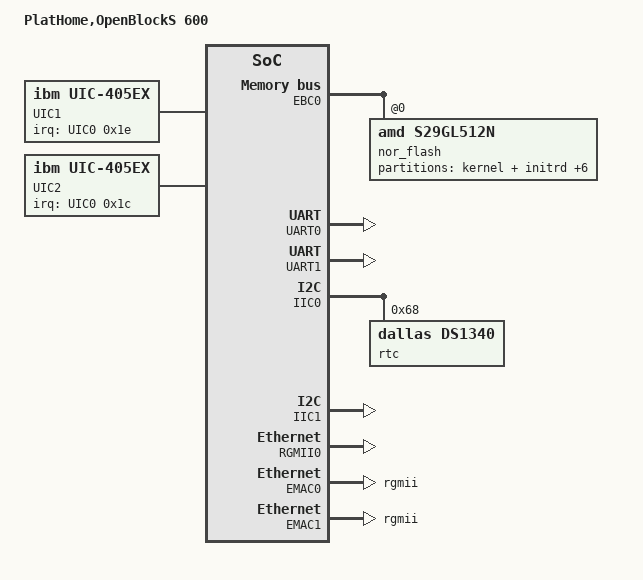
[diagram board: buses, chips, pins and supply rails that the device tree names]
/*
 * Device Tree Source for PlatHome OpenBlockS 600 (405EX)
 *
 * Copyright 2011 Ben Herrenschmidt, IBM Corp.
 *
 * Based on Kilauea by:
 *
 * Copyright 2007-2009 DENX Software Engineering, Stefan Roese <sr@denx.de>
 *
 * This file is licensed under the terms of the GNU General Public
 * License version 2.  This program is licensed "as is" without
 * any warranty of any kind, whether express or implied.
 */

/dts-v1/;

/ {
	#address-cells = <1>;
	#size-cells = <1>;
	model = "PlatHome,OpenBlockS 600";
	compatible = "plathome,obs600";
	dcr-parent = <&{/cpus/cpu@0}>;

	aliases {
		ethernet0 = &EMAC0;
		ethernet1 = &EMAC1;
		serial0 = &UART0;
		serial1 = &UART1;
	};

	cpus {
		#address-cells = <1>;
		#size-cells = <0>;

		cpu@0 {
			device_type = "cpu";
			model = "PowerPC,405EX";
			reg = <0x00000000>;
			clock-frequency = <0>; /* Filled in by U-Boot */
			timebase-frequency = <0>; /* Filled in by U-Boot */
			i-cache-line-size = <32>;
			d-cache-line-size = <32>;
			i-cache-size = <16384>; /* 16 kB */
			d-cache-size = <16384>; /* 16 kB */
			dcr-controller;
			dcr-access-method = "native";
		};
	};

	memory {
		device_type = "memory";
		reg = <0x00000000 0x00000000>; /* Filled in by U-Boot */
	};

	UIC0: interrupt-controller {
		compatible = "ibm,uic-405ex", "ibm,uic";
		interrupt-controller;
		cell-index = <0>;
		dcr-reg = <0x0c0 0x009>;
		#address-cells = <0>;
		#size-cells = <0>;
		#interrupt-cells = <2>;
	};

	UIC1: interrupt-controller1 {
		compatible = "ibm,uic-405ex","ibm,uic";
		interrupt-controller;
		cell-index = <1>;
		dcr-reg = <0x0d0 0x009>;
		#address-cells = <0>;
		#size-cells = <0>;
		#interrupt-cells = <2>;
		interrupts = <0x1e 0x4 0x1f 0x4>; /* cascade */
		interrupt-parent = <&UIC0>;
	};

	UIC2: interrupt-controller2 {
		compatible = "ibm,uic-405ex","ibm,uic";
		interrupt-controller;
		cell-index = <2>;
		dcr-reg = <0x0e0 0x009>;
		#address-cells = <0>;
		#size-cells = <0>;
		#interrupt-cells = <2>;
		interrupts = <0x1c 0x4 0x1d 0x4>; /* cascade */
		interrupt-parent = <&UIC0>;
	};

	CPM0: cpm {
		compatible = "ibm,cpm";
		dcr-access-method = "native";
		dcr-reg = <0x0b0 0x003>;
		unused-units = <0x00000000>;
		idle-doze = <0x02000000>;
		standby = <0xe3e74800>;
	};

	plb {
		compatible = "ibm,plb-405ex", "ibm,plb4";
		#address-cells = <1>;
		#size-cells = <1>;
		ranges;
		clock-frequency = <0>; /* Filled in by U-Boot */

		SDRAM0: memory-controller {
			compatible = "ibm,sdram-405ex", "ibm,sdram-4xx-ddr2";
			dcr-reg = <0x010 0x002>;
			interrupt-parent = <&UIC2>;
			interrupts = <0x5 0x4	/* ECC DED Error */
				      0x6 0x4>;	/* ECC SEC Error */
		};

		CRYPTO: crypto@ef700000 {
			compatible = "amcc,ppc405ex-crypto", "amcc,ppc4xx-crypto";
			reg = <0xef700000 0x80400>;
			interrupt-parent = <&UIC0>;
			interrupts = <0x17 0x2>;
		};

		MAL0: mcmal {
			compatible = "ibm,mcmal-405ex", "ibm,mcmal2";
			dcr-reg = <0x180 0x062>;
			num-tx-chans = <2>;
			num-rx-chans = <2>;
			interrupt-parent = <&MAL0>;
			interrupts = <0x0 0x1 0x2 0x3 0x4>;
			#interrupt-cells = <1>;
			#address-cells = <0>;
			#size-cells = <0>;
			interrupt-map = </*TXEOB*/ 0x0 &UIC0 0xa 0x4
					/*RXEOB*/ 0x1 &UIC0 0xb 0x4
					/*SERR*/  0x2 &UIC1 0x0 0x4
					/*TXDE*/  0x3 &UIC1 0x1 0x4
					/*RXDE*/  0x4 &UIC1 0x2 0x4>;
			interrupt-map-mask = <0xffffffff>;
		};

		POB0: opb {
			compatible = "ibm,opb-405ex", "ibm,opb";
			#address-cells = <1>;
			#size-cells = <1>;
			ranges = <0x80000000 0x80000000 0x10000000
				  0xef600000 0xef600000 0x00a00000
				  0xf0000000 0xf0000000 0x10000000>;
			dcr-reg = <0x0a0 0x005>;
			clock-frequency = <0>; /* Filled in by U-Boot */

			EBC0: ebc {
				compatible = "ibm,ebc-405ex", "ibm,ebc";
				dcr-reg = <0x012 0x002>;
				#address-cells = <2>;
				#size-cells = <1>;
				clock-frequency = <0>; /* Filled in by U-Boot */
				/* ranges property is supplied by U-Boot */
				interrupts = <0x5 0x1>;
				interrupt-parent = <&UIC1>;

				nor_flash@0,0 {
					compatible = "amd,s29gl512n", "cfi-flash";
					bank-width = <2>;
					reg = <0x00000000 0x00000000 0x08000000>;
					#address-cells = <1>;
					#size-cells = <1>;
					partition@0 {
						label = "kernel + initrd";
						reg = <0x00000000 0x03de0000>;
					};
					partition@3de0000 {
						label = "user config area";
						reg = <0x03de0000 0x00080000>;
					};
					partition@3e60000 {
						label = "user program area";
						reg = <0x03e60000 0x04000000>;
					};
					partition@7e60000 {
						label = "flat device tree";
						reg = <0x07e60000 0x00080000>;
					};
					partition@7ee0000 {
						label = "test program";
						reg = <0x07ee0000 0x00080000>;
					};
					partition@7f60000 {
						label = "u-boot env";
						reg = <0x07f60000 0x00040000>;
					};
					partition@7fa0000 {
						label = "u-boot";
						reg = <0x07fa0000 0x00060000>;
					};
				};
			};

			UART0: serial@ef600200 {
				device_type = "serial";
				compatible = "ns16550";
				reg = <0xef600200 0x00000008>;
				virtual-reg = <0xef600200>;
				clock-frequency = <0>; /* Filled in by U-Boot */
				current-speed = <0>;
				interrupt-parent = <&UIC0>;
				interrupts = <0x1a 0x4>;
			};

			UART1: serial@ef600300 {
				device_type = "serial";
				compatible = "ns16550";
				reg = <0xef600300 0x00000008>;
				virtual-reg = <0xef600300>;
				clock-frequency = <0>; /* Filled in by U-Boot */
				current-speed = <0>;
				interrupt-parent = <&UIC0>;
				interrupts = <0x1 0x4>;
			};

			IIC0: i2c@ef600400 {
				compatible = "ibm,iic-405ex", "ibm,iic";
				reg = <0xef600400 0x00000014>;
				interrupt-parent = <&UIC0>;
				interrupts = <0x2 0x4>;
				#address-cells = <1>;
				#size-cells = <0>;

				rtc@68 {
					compatible = "dallas,ds1340";
					reg = <0x68>;
				};
			};

			IIC1: i2c@ef600500 {
				compatible = "ibm,iic-405ex", "ibm,iic";
				reg = <0xef600500 0x00000014>;
				interrupt-parent = <&UIC0>;
				interrupts = <0x7 0x4>;
			};

			RGMII0: emac-rgmii@ef600b00 {
				compatible = "ibm,rgmii-405ex", "ibm,rgmii";
				reg = <0xef600b00 0x00000104>;
				has-mdio;
			};

			EMAC0: ethernet@ef600900 {
				linux,network-index = <0x0>;
				device_type = "network";
				compatible = "ibm,emac-405ex", "ibm,emac4sync";
				interrupt-parent = <&EMAC0>;
				interrupts = <0x0 0x1>;
				#interrupt-cells = <1>;
				#address-cells = <0>;
				#size-cells = <0>;
				interrupt-map = </*Status*/ 0x0 &UIC0 0x18 0x4
						/*Wake*/  0x1 &UIC1 0x1d 0x4>;
				reg = <0xef600900 0x000000c4>;
				local-mac-address = [000000000000]; /* Filled in by U-Boot */
				mal-device = <&MAL0>;
				mal-tx-channel = <0>;
				mal-rx-channel = <0>;
				cell-index = <0>;
				max-frame-size = <9000>;
				rx-fifo-size = <4096>;
				tx-fifo-size = <2048>;
				rx-fifo-size-gige = <16384>;
				tx-fifo-size-gige = <16384>;
				phy-mode = "rgmii";
				phy-map = <0x00000000>;
				rgmii-device = <&RGMII0>;
				rgmii-channel = <0>;
				has-inverted-stacr-oc;
				has-new-stacr-staopc;
			};

			EMAC1: ethernet@ef600a00 {
				linux,network-index = <0x1>;
				device_type = "network";
				compatible = "ibm,emac-405ex", "ibm,emac4sync";
				interrupt-parent = <&EMAC1>;
				interrupts = <0x0 0x1>;
				#interrupt-cells = <1>;
				#address-cells = <0>;
				#size-cells = <0>;
				interrupt-map = </*Status*/ 0x0 &UIC0 0x19 0x4
						/*Wake*/  0x1 &UIC1 0x1f 0x4>;
				reg = <0xef600a00 0x000000c4>;
				local-mac-address = [000000000000]; /* Filled in by U-Boot */
				mal-device = <&MAL0>;
				mal-tx-channel = <1>;
				mal-rx-channel = <1>;
				cell-index = <1>;
				max-frame-size = <9000>;
				rx-fifo-size = <4096>;
				tx-fifo-size = <2048>;
				rx-fifo-size-gige = <16384>;
				tx-fifo-size-gige = <16384>;
				phy-mode = "rgmii";
				phy-map = <0x00000000>;
				rgmii-device = <&RGMII0>;
				rgmii-channel = <1>;
				has-inverted-stacr-oc;
				has-new-stacr-staopc;
			};

			GPIO: gpio@ef600800 {
				device_type = "gpio";
				compatible = "ibm,gpio-405ex", "ibm,ppc4xx-gpio";
				reg = <0xef600800 0x50>;
			};
		};
	};
        chosen {
                linux,stdout-path = "/plb/opb/serial@ef600200";
        };
};
